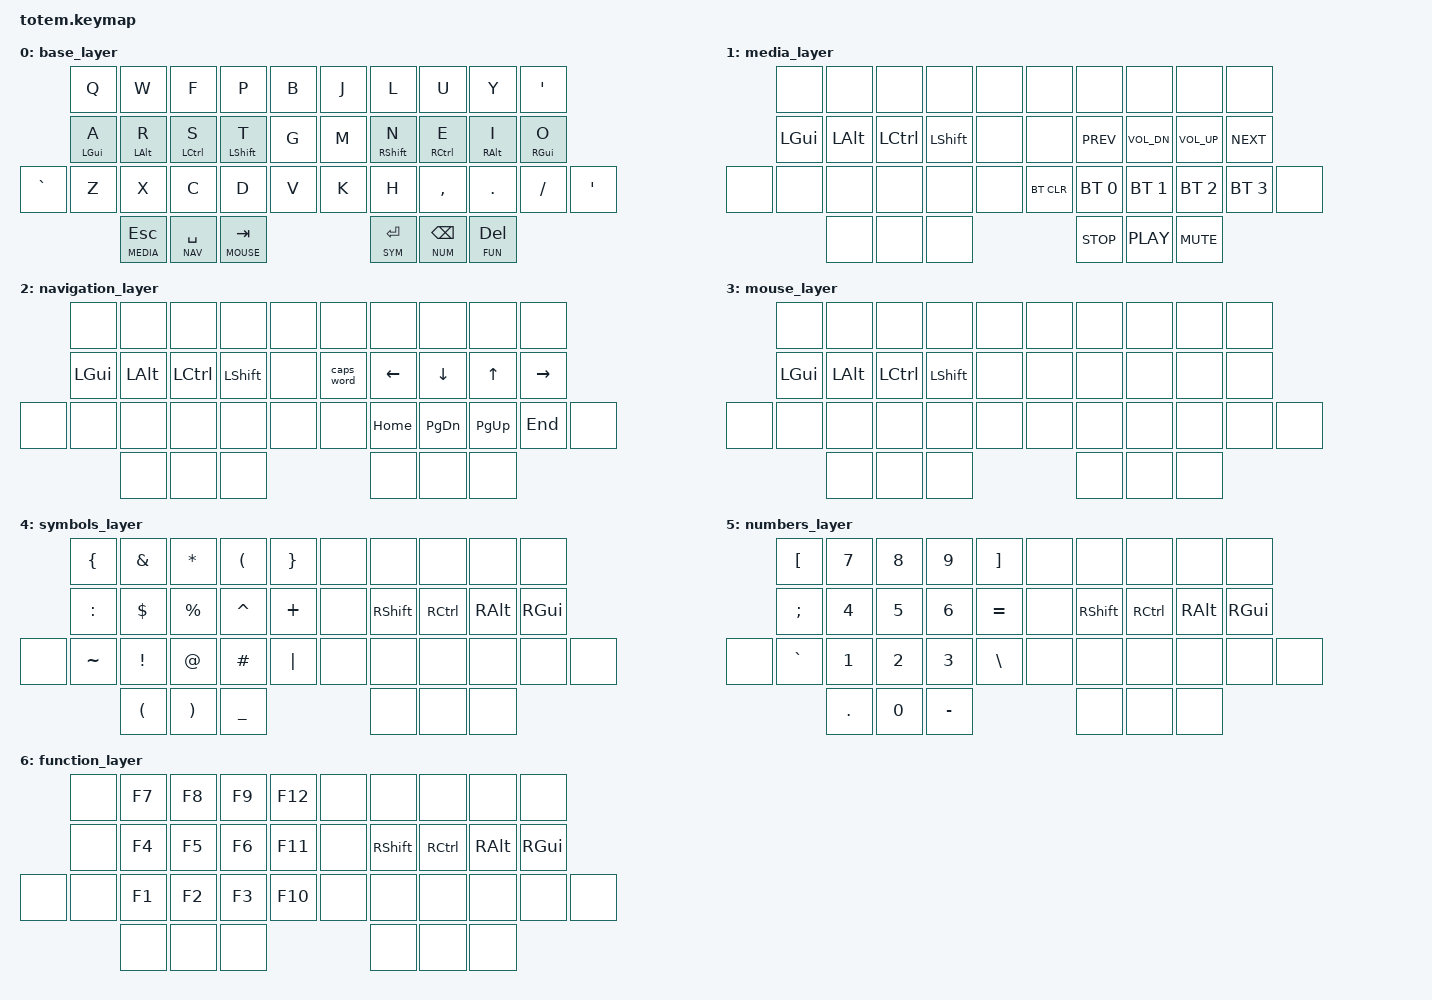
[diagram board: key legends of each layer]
//
//                                                        ▀▀▀▀▀     ▀▀▀▀▀          ▀▀█▀▀
//                                                        ▄▀▀▀▄  ▄  ▄▀▀▀▄  ▄  ▄▀▀▀▄  █  ▄▀▀▀▄
//                                                        █   █  █  █   █  █  █   █  █  █   █
//                                                         ▀▀▀   █   ▀▀▀   █   ▀▀▀   ▀   ▀▀▀
//                                                               █      ▄▄▄█▄▄▄    █   █  
//                                                               ▀      █  █  █     █▄█
//                                                             ▀▀▀▀▀    █  █  █      ▀
//                                                                      ▀  ▀  ▀
//
// ▄▄▄▄▄▄▄▄▄▄▄▄▄▄▄▄▄▄▄▄▄▄▄▄▄▄▄▄▄▄▄▄▄▄▄▄▄▄▄▄▄▄▄▄▄▄▄▄▄▄▄▄▄▄▄▄▄▄▄▄▄▄▄▄▄▄▄▄▄▄▄▄▄▄▄▄▄▄▄▄▄▄▄▄▄▄▄▄▄▄▄▄▄▄▄▄▄▄▄▄▄▄▄▄▄▄▄▄▄▄▄▄▄▄▄▄▄▄▄▄▄▄▄▄▄▄▄▄▄▄▄▄▄▄▄▄▄▄▄▄▄▄▄▄▄▄▄▄▄
       

#include <behaviors.dtsi>
#include <dt-bindings/zmk/keys.h>
#include <dt-bindings/zmk/bt.h>
#include <dt-bindings/zmk/outputs.h>

#define BASE  0
#define MEDIA 1
#define NAV   2
#define MOUSE 3
#define SYM   4
#define NUM   5
#define FUN   6

#define LEFT_HAND_KEYS  0 1 2 3 4 10 11 12 13 14 20 21 22 23 24 25 
#define LEFT_THUMB_KEYS 32 33 34
#define RIGHT_HAND_KEYS 5 6 7 8 9 15 16 17 18 19 26 27 28 29 30 31 
#define RIGHT_THUMB_KEYS 35 36 37

&lt {
        tapping-term-ms = <150>;
        flavor = "balanced";
};

/ {
        behaviors {
                hml: home_row_mod_left {
                        compatible = "zmk,behavior-hold-tap";
                        #binding-cells = <2>;
                        flavor = "balanced";
                        require-prior-idle-ms = <150>;
                        tapping-term-ms = <280>;
                        quick-tap-ms = <175>;
                        bindings = <&kp>, <&kp>;
                        hold-trigger-key-positions = <RIGHT_HAND_KEYS RIGHT_THUMB_KEYS>;
                        hold-trigger-on-release;
                };
                hmr: home_row_right {
                        compatible = "zmk,behavior-hold-tap";
                        #binding-cells = <2>;
                        flavor = "balanced";
                        require-prior-idle-ms = <150>;
                        tapping-term-ms = <280>;
                        quick-tap-ms = <175>;
                        bindings = <&kp>, <&kp>;
                        hold-trigger-key-positions = <LEFT_HAND_KEYS LEFT_THUMB_KEYS>;
                        hold-trigger-on-release;
                };
        };
        keymap {
                compatible = "zmk,keymap";

                base_layer {
                        bindings = <
           &kp Q       &kp W         &kp F         &kp P         &kp B       &kp J      &kp L        &kp U        &kp Y       &kp SQT           
           &hml LGUI A &hml LALT R   &hml LCTRL S  &hml LSHFT T  &kp G       &kp M      &hmr RSHFT N &hmr RCTRL E &hmr RALT I &hmr RGUI O        
&kp GRAVE  &kp Z       &kp X         &kp C         &kp D         &kp V       &kp K      &kp H        &kp COMMA    &kp DOT     &kp FSLH      &kp SQT
                       &lt MEDIA ESC &lt NAV SPACE &lt MOUSE TAB                        &lt SYM RET  &lt NUM BSPC &lt FUN DEL
                        >;
                };
                media_layer {
                        bindings = <
           &none       &none         &none         &none         &none       &none      &none        &none        &none        &none        
           &kp LGUI    &kp LALT      &kp LCTRL     &kp LSHFT     &none       &none      &kp C_PREV   &kp C_VOL_DN &kp C_VOL_UP &kp C_NEXT   
&none      &none       &none         &none         &none         &none       &bt BT_CLR &bt BT_SEL 0 &bt BT_SEL 1 &bt BT_SEL 2 &bt BT_SEL 3 &none
                                     &none         &none         &none       &kp C_STOP &kp C_PLAY   &kp C_MUTE
                        >;
                };
                navigation_layer {
                        bindings = <
           &none       &none         &none         &none         &none       &none      &none        &none        &none       &none      
           &kp LGUI    &kp LALT      &kp LCTRL     &kp LSHFT     &none       &caps_word &kp LEFT     &kp DOWN     &kp UP      &kp RIGHT  
&none      &none       &none         &none         &none         &none       &none      &kp HOME     &kp PG_DN    &kp PG_UP   &kp END       &none
                                     &none         &none         &none       &none      &none        &none
                        >;
                };
                // Don't really want to do mouse emulation
                mouse_layer {
                        bindings = <
           &none       &none         &none         &none         &none       &none      &none        &none        &none       &none           
           &kp LGUI    &kp LALT      &kp LCTRL     &kp LSHFT     &none       &none      &none        &none        &none       &none      
&none      &none       &none         &none         &none         &none       &none      &none        &none        &none       &none         &none
                                     &none         &none         &none       &none      &none        &none
                        >;
                };
                symbols_layer {
                        bindings = <
           &kp LBRC    &kp AMPS      &kp ASTRK     &kp LPAR      &kp RBRC    &none      &none        &none        &none       &none           
           &kp COLON   &kp DLLR      &kp PRCNT     &kp CARET     &kp PLUS    &none      &kp RSHFT    &kp RCTRL    &kp RALT    &kp RGUI   
&none      &kp TILDE   &kp EXCL      &kp AT        &kp POUND     &kp PIPE    &none      &none        &none        &none       &none         &none
                                     &kp LPAR      &kp RPAR      &kp UNDER   &none      &none        &none
                        >;
                };
                numbers_layer {
                        bindings = <
           &kp LBKT    &kp N7        &kp N8        &kp N9        &kp RBKT    &none      &none        &none        &none       &none      
           &kp SEMI    &kp N4        &kp N5        &kp N6        &kp EQUAL   &none      &kp RSHFT    &kp RCTRL    &kp RALT    &kp RGUI   
&none      &kp GRAVE   &kp N1        &kp N2        &kp N3        &kp BSLH    &none      &none        &none        &none       &none         &none
                                     &kp DOT       &kp N0        &kp MINUS   &none      &none        &none
                        >;
                };
                function_layer {
                        bindings = <
           &none       &kp F7      &kp F8        &kp F9        &kp F12       &none      &none        &none        &none       &none           
           &none       &kp F4      &kp F5        &kp F6        &kp F11       &none      &kp RSHFT    &kp RCTRL    &kp RALT    &kp RGUI        
&none      &none       &kp F1      &kp F2        &kp F3        &kp F10       &none      &none        &none        &none       &none         &none
                                     &none         &none         &none       &none      &none        &none
                        >;
                };
        };
};
